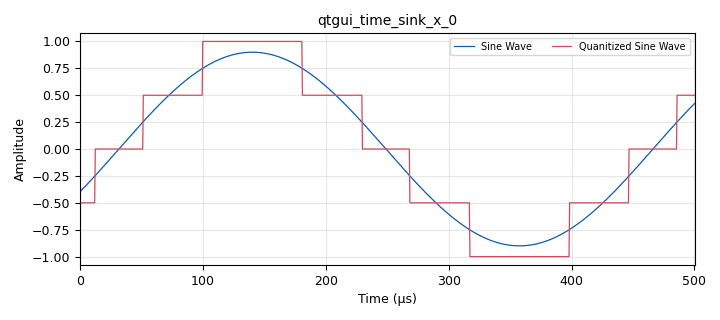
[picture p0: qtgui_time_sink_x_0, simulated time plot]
options:
  parameters:
    author: pmain
    generate_options: qt_gui
    id: Quantize
    output_language: python
    title: Analog to Digital Converter Quantization
  states: {}

blocks:
- name: bits
  id: variable_qtgui_chooser
  parameters:
    label: Number of Bits
    label0: 2 Bits
    label1: 8 Bits
    label2: 12 Bits
    label3: 16 Bits
    num_opts: '4'
    option0: '2'
    option1: '8'
    option2: '12'
    option3: '16'
    orient: Qt.QHBoxLayout
    type: int
    value: '2'
    widget: radio_buttons
  states: {}
- name: frequency
  id: variable_qtgui_range
  parameters:
    label: Frequency
    start: '2300'
    step: '50'
    stop: 10e3
    value: '2300'
  states: {}
- name: samp_rate
  id: variable
  parameters:
    value: 2.046e6
  states: {}
- name: volume
  id: variable_qtgui_range
  parameters:
    label: Volume
    start: '0'
    step: '0.10'
    stop: '.300'
    value: '0.10'
  states: {state: disabled}
- name: analog_sig_source_x_0
  id: analog_sig_source_x
  parameters:
    amp: '0.9'
    freq: frequency
    offset: '0'
    phase: '0'
    samp_rate: samp_rate
    type: float
    waveform: analog.GR_COS_WAVE
  states: {}
- name: audio_sink_0
  id: audio_sink
  parameters:
    samp_rate: '48000'
  states: {state: disabled}
- name: blocks_multiply_const_vxx_0
  id: blocks_multiply_const_vxx
  parameters:
    const: volume
    type: float
  states: {state: disabled}
- name: blocks_throttle2_0
  id: blocks_throttle2
  parameters:
    samples_per_second: samp_rate
    type: float
  states: {}
- name: channels_quantizer_0
  id: channels_quantizer
  parameters:
    bits: bits
  states: {}
- name: qtgui_freq_sink_x_0
  id: qtgui_freq_sink_x
  parameters:
    bw: samp_rate
    fc: frequency
    fftsize: '1024'
    name: Frequency
    type: float
  states: {state: disabled}
- name: qtgui_time_sink_x_0
  id: qtgui_time_sink_x
  parameters:
    ctrlpanel: 'True'
    grid: 'True'
    label1: Sine Wave
    label2: Quanitized Sine Wave
    nconnections: '2'
    size: '1024'
    srate: samp_rate
    type: float
  states: {}
- name: rational_resampler_xxx_0
  id: rational_resampler_xxx
  parameters:
    decim: '32'
    interp: '3'
    type: fff
  states: {state: disabled}

connections:
- [analog_sig_source_x_0, '0', blocks_throttle2_0, '0']
- [analog_sig_source_x_0, '0', qtgui_time_sink_x_0, '0']
- [blocks_multiply_const_vxx_0, '0', audio_sink_0, '0']
- [blocks_throttle2_0, '0', channels_quantizer_0, '0']
- [channels_quantizer_0, '0', qtgui_freq_sink_x_0, '0']
- [channels_quantizer_0, '0', qtgui_time_sink_x_0, '1']
- [channels_quantizer_0, '0', rational_resampler_xxx_0, '0']
- [rational_resampler_xxx_0, '0', blocks_multiply_const_vxx_0, '0']

metadata:
  file_format: 1
  grc_version: 3.10.12.0
